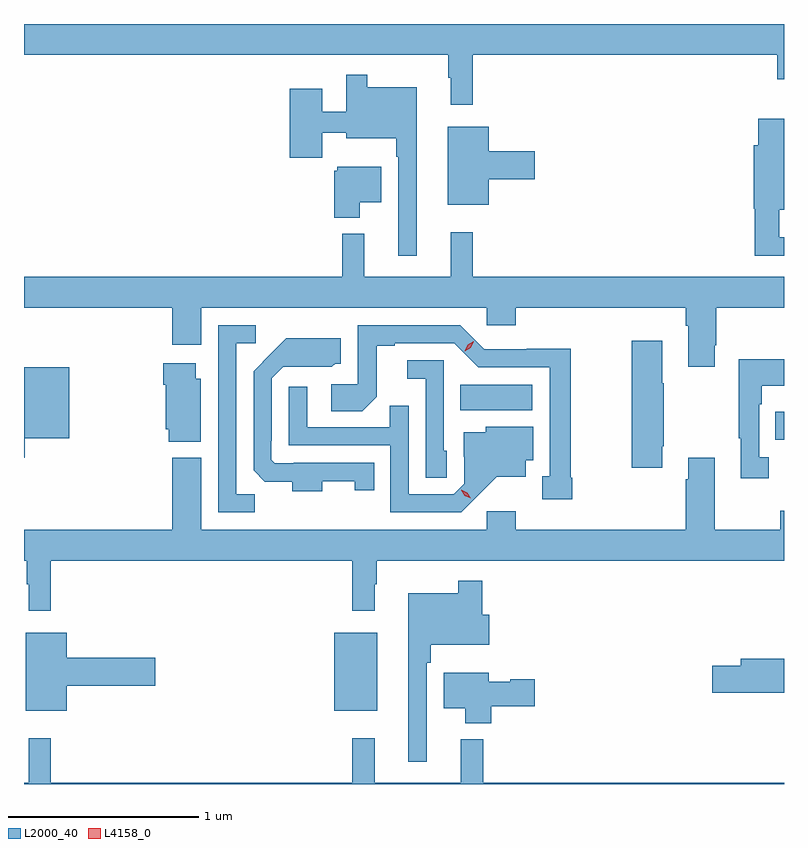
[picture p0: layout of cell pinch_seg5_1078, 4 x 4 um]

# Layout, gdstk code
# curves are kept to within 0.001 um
import gdstk
lib = gdstk.Library(unit=1e-6, precision=1e-09)
def R(c, l, rs):  # rectangles x0, y0, x1, y1
    for r in rs: c.add(gdstk.rectangle(r[:2], r[2:], *l))
def P(c, l, *ps):  # polygons
    for p in ps: c.add(gdstk.Polygon(p, *l))
L2000_40 = (2000, 40)
L4158_0 = (4158, 0)

pinch_seg5_1078 = lib.new_cell('pinch_seg5_1078')
R(pinch_seg5_1078, L2000_40, [(803.816,870.623,804.043,871.033), (806.137,872.05,806.183,872.197), (804.478,872.204,804.859,872.338)])
P(pinch_seg5_1078, L2000_40, [(804.545,874.076),(806.147,874.076),(806.147,873.945),(806.183,873.945),(806.183,874.237),(802.183,874.237),(802.183,874.076),(804.417,874.076),(804.417,873.953),(804.428,873.953),(804.428,873.813),(804.545,873.813)],
  [(804.25,873.904),(803.989,873.904),(803.989,873.97),(803.88,873.97),(803.88,873.775),(803.752,873.775),(803.752,873.895),(803.582,873.895),(803.582,873.534),(803.752,873.534),(803.752,873.665),(803.879,873.665),(803.879,873.635),(804.141,873.635),(804.141,873.539),(804.153,873.539),(804.153,873.018),(804.25,873.018)],
  [(806.183,873.115),(806.158,873.115),(806.158,873.26),(806.183,873.26),(806.183,873.739),(806.048,873.739),(806.048,873.6),(806.024,873.6),(806.024,873.264),(806.029,873.264),(806.029,873.018),(806.183,873.018)],
  [(804.628,873.419),(804.871,873.419),(804.871,873.566),(804.628,873.566),(804.628,873.697),(804.413,873.697),(804.413,873.287),(804.628,873.287)],
  [(803.95,873.299),(804.064,873.299),(804.064,873.487),(803.832,873.487),(803.832,873.465),(803.816,873.465),(803.816,873.218),(803.95,873.218)],
  [(805.819,872.545),(805.827,872.545),(805.827,872.744),(806.183,872.744),(806.183,872.908),(804.545,872.908),(804.545,873.142),(804.428,873.142),(804.428,872.908),(803.975,872.908),(803.975,873.133),(803.857,873.133),(803.857,872.908),(802.183,872.908),(802.183,872.744),(802.964,872.744),(802.964,872.55),(803.116,872.55),(803.116,872.744),(804.618,872.744),(804.618,872.651),(804.77,872.651),(804.77,872.744),(805.667,872.744),(805.667,872.648),(805.679,872.648),(805.679,872.433),(805.819,872.433)],
  [(805.069,871.849),(805.061,871.849),(805.061,872.528),(804.828,872.528),(804.828,872.526),(804.606,872.526),(804.48,872.652),(803.94,872.652),(803.94,872.34),(803.799,872.34),(803.799,872.2),(803.963,872.2),(804.039,872.276),(804.039,872.544),(804.133,872.544),(804.133,872.556),(804.447,872.556),(804.573,872.43),(804.95,872.43),(804.95,871.857),(804.911,871.857),(804.911,871.737),(805.069,871.737)],
  [(803.397,871.763),(803.301,871.763),(803.301,872.556),(803.404,872.556),(803.404,872.652),(803.205,872.652),(803.205,871.668),(803.397,871.668)],
  [(803.752,871.831),(803.925,871.831),(803.925,871.782),(804.026,871.782),(804.026,871.929),(803.602,871.929),(803.602,871.926),(803.502,871.926),(803.484,871.944),(803.484,872.044),(803.487,872.044),(803.487,872.373),(803.547,872.433),(803.804,872.432),(803.82,872.448),(803.851,872.448),(803.851,872.584),(803.563,872.584),(803.391,872.41),(803.391,871.888),(803.45,871.829),(803.594,871.829),(803.594,871.778),(803.752,871.778)],
  [(805.543,872.014),(805.551,872.014),(805.551,872.345),(805.543,872.345),(805.543,872.569),(805.381,872.569),(805.381,871.902),(805.543,871.902)],
  [(806.104,871.958),(806.052,871.958),(806.052,872.237),(806.065,872.237),(806.065,872.333),(806.183,872.333),(806.183,872.473),(805.944,872.473),(805.944,872.057),(805.955,872.057),(805.955,871.845),(806.104,871.845)],
  [(804.408,871.992),(804.393,871.992),(804.393,872.466),(804.201,872.466),(804.201,872.369),(804.297,872.369),(804.297,871.849),(804.408,871.849)],
  [(803.113,872.37),(803.086,872.37),(803.086,872.452),(802.916,872.452),(802.916,872.339),(802.928,872.339),(802.928,872.103),(802.946,872.103),(802.946,872.039),(803.113,872.039)],
  [(802.186,872.057),(802.42,872.057),(802.42,872.431),(802.183,872.431),(802.183,871.955),(802.186,871.955)],
  [(804.568,871.751),(804.671,871.853),(804.823,871.853),(804.823,871.94),(804.862,871.94),(804.862,872.116),(804.612,872.116),(804.612,872.089),(804.497,872.089),(804.497,871.96),(804.501,871.96),(804.501,871.818),(804.444,871.761),(804.207,871.761),(804.207,872.228),(804.109,872.228),(804.109,872.115),(803.673,872.115),(803.673,872.329),(803.577,872.329),(803.577,872.019),(804.111,872.019),(804.111,871.668),(804.484,871.668)],
  [(802.325,871.412),(803.911,871.412),(803.911,871.149),(804.028,871.149),(804.028,871.289),(804.04,871.289),(804.04,871.412),(806.183,871.412),(806.183,871.675),(806.164,871.675),(806.164,871.576),(805.819,871.576),(805.819,871.954),(805.679,871.954),(805.679,871.841),(805.667,871.841),(805.667,871.576),(804.77,871.576),(804.77,871.672),(804.618,871.672),(804.618,871.576),(803.116,871.576),(803.116,871.954),(802.964,871.954),(802.964,871.576),(802.183,871.576),(802.183,871.412),(802.197,871.412),(802.197,871.289),(802.208,871.289),(802.208,871.149),(802.325,871.149)],
  [(804.303,870.875),(804.323,870.875),(804.323,870.971),(804.631,870.971),(804.631,871.129),(804.596,871.129),(804.596,871.306),(804.468,871.306),(804.468,871.24),(804.206,871.24),(804.206,870.354),(804.303,870.354)],
  [(802.408,870.755),(802.873,870.755),(802.873,870.902),(802.408,870.902),(802.408,871.033),(802.193,871.033),(802.193,870.623),(802.408,870.623)],
  [(806.183,870.896),(805.955,870.896),(805.955,870.86),(805.806,870.86),(805.806,870.718),(806.183,870.718)],
  [(804.641,870.646),(804.871,870.646),(804.871,870.788),(804.741,870.788),(804.741,870.775),(804.628,870.775),(804.628,870.823),(804.392,870.823),(804.392,870.635),(804.506,870.635),(804.506,870.557),(804.641,870.557)],
  [(806.183,870.244),(804.599,870.244),(804.599,870.472),(804.482,870.472),(804.482,870.244),(804.029,870.244),(804.029,870.478),(803.911,870.478),(803.911,870.244),(802.325,870.244),(802.325,870.478),(802.208,870.478),(802.208,870.244),(802.183,870.244),(802.183,870.237),(806.183,870.237)])
P(pinch_seg5_1078, L4158_0, [(804.533,871.74),(804.502,871.755),(804.484,871.784),(804.484,871.785),(804.484,871.785),(804.515,871.77),(804.533,871.74),(804.533,871.74)],
  [(804.502,872.515),(804.502,872.515),(804.519,872.548),(804.551,872.567),(804.551,872.567),(804.551,872.566),(804.534,872.534),(804.502,872.515)])

lib.write_gds('pinch_seg5_1078.gds')
